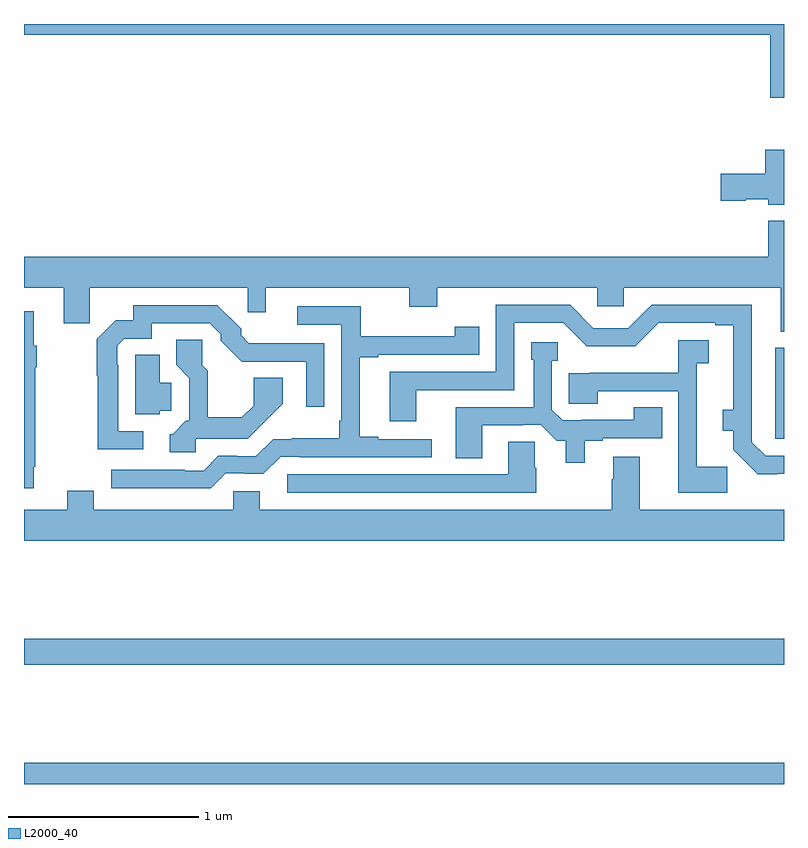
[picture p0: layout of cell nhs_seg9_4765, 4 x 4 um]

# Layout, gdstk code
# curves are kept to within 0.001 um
import gdstk
lib = gdstk.Library(unit=1e-6, precision=1e-09)
def R(c, l, rs):  # rectangles x0, y0, x1, y1
    for r in rs: c.add(gdstk.rectangle(r[:2], r[2:], *l))
def P(c, l, *ps):  # polygons
    for p in ps: c.add(gdstk.Polygon(p, *l))
L2000_40 = (2000, 40)

nhs_seg9_4765 = lib.new_cell('nhs_seg9_4765')
R(nhs_seg9_4765, L2000_40, [(387,1168.5,391,1168.612), (387,1169.128,391,1169.264), (390.954,1170.318,391,1170.795)])
P(nhs_seg9_4765, L2000_40, [(391,1172.5),(387,1172.5),(387,1172.444),(390.928,1172.444),(390.928,1172.112),(391,1172.112)],
  [(391,1171.837),(390.902,1171.837),(390.902,1171.712),(390.666,1171.712),(390.666,1171.57),(390.798,1171.57),(390.798,1171.577),(390.918,1171.577),(390.918,1171.55),(391,1171.55)],
  [(391,1171.465),(390.917,1171.465),(390.917,1171.276),(387,1171.276),(387,1171.112),(387.209,1171.112),(387.209,1170.924),(387.347,1170.924),(387.347,1171.112),(388.177,1171.112),(388.177,1170.983),(388.273,1170.983),(388.273,1171.112),(389.027,1171.112),(389.027,1171.013),(389.175,1171.013),(389.175,1171.112),(390.018,1171.112),(390.018,1171.014),(390.156,1171.014),(390.156,1171.112),(390.983,1171.112),(390.983,1170.88),(391,1170.88)],
  [(390.964,1170.132),(391,1170.132),(391,1170.228),(390.903,1170.228),(390.831,1170.3),(390.831,1171.023),(390.303,1171.023),(390.18,1170.9),(389.997,1170.9),(389.874,1171.023),(389.484,1171.023),(389.484,1170.669),(388.925,1170.669),(388.925,1170.408),(389.065,1170.408),(389.065,1170.573),(389.58,1170.573),(389.58,1170.927),(389.838,1170.927),(389.962,1170.803),(390.216,1170.803),(390.34,1170.927),(390.638,1170.927),(390.638,1170.915),(390.734,1170.915),(390.734,1170.469),(390.677,1170.469),(390.677,1170.359),(390.734,1170.359),(390.734,1170.26),(390.863,1170.131)],
  [(387.628,1170.357),(387.495,1170.357),(387.495,1170.707),(387.492,1170.707),(387.492,1170.807),(387.528,1170.843),(387.672,1170.843),(387.672,1170.924),(387.978,1170.924),(388.035,1170.867),(388.035,1170.833),(388.145,1170.723),(388.485,1170.723),(388.485,1170.486),(388.581,1170.486),(388.581,1170.819),(388.184,1170.82),(388.144,1170.861),(388.144,1170.895),(388.018,1171.02),(387.574,1171.02),(387.574,1170.94),(387.484,1170.94),(387.384,1170.84),(387.384,1170.649),(387.387,1170.649),(387.387,1170.261),(387.628,1170.261)],
  [(388.062,1170.135),(388.163,1170.135),(388.163,1170.132),(388.26,1170.132),(388.35,1170.222),(388.45,1170.222),(388.45,1170.219),(389.146,1170.219),(389.146,1170.315),(388.864,1170.315),(388.864,1170.328),(388.768,1170.328),(388.768,1170.747),(388.864,1170.747),(388.864,1170.759),(389.395,1170.759),(389.395,1170.907),(389.267,1170.907),(389.267,1170.856),(388.772,1170.856),(388.772,1171.014),(388.437,1171.014),(388.437,1170.918),(388.671,1170.918),(388.671,1170.412),(388.659,1170.412),(388.659,1170.319),(388.408,1170.319),(388.408,1170.315),(388.311,1170.315),(388.221,1170.225),(388.121,1170.225),(388.121,1170.228),(388.023,1170.228),(387.945,1170.15),(387.845,1170.15),(387.845,1170.153),(387.459,1170.153),(387.459,1170.057),(387.983,1170.056)],
  [(387.052,1170.169),(387.06,1170.169),(387.06,1170.693),(387.066,1170.693),(387.066,1170.807),(387.052,1170.807),(387.052,1170.988),(387,1170.988),(387,1170.057),(387.052,1170.057)],
  [(387.903,1170.318),(388.177,1170.318),(388.363,1170.502),(388.363,1170.638),(388.209,1170.638),(388.209,1170.49),(388.147,1170.429),(387.968,1170.429),(387.968,1170.674),(387.939,1170.703),(387.939,1170.838),(387.8,1170.838),(387.8,1170.706),(387.87,1170.636),(387.87,1170.411),(387.852,1170.411),(387.783,1170.342),(387.767,1170.342),(387.767,1170.246),(387.903,1170.246)],
  [(390.702,1170.171),(390.541,1170.171),(390.541,1170.714),(390.604,1170.714),(390.604,1170.835),(390.444,1170.835),(390.444,1170.664),(389.977,1170.664),(389.977,1170.663),(389.867,1170.663),(389.867,1170.502),(390.021,1170.502),(390.021,1170.567),(390.444,1170.567),(390.444,1170.032),(390.702,1170.032)],
  [(389.95,1170.306),(390.046,1170.306),(390.046,1170.321),(390.359,1170.321),(390.359,1170.482),(390.208,1170.482),(390.208,1170.417),(389.935,1170.417),(389.935,1170.414),(389.835,1170.414),(389.778,1170.471),(389.778,1170.727),(389.808,1170.727),(389.808,1170.825),(389.669,1170.825),(389.669,1170.732),(389.682,1170.732),(389.682,1170.483),(389.273,1170.483),(389.273,1170.214),(389.413,1170.214),(389.413,1170.387),(389.627,1170.387),(389.627,1170.39),(389.721,1170.39),(389.805,1170.306),(389.852,1170.306),(389.852,1170.192),(389.95,1170.192)],
  [(387.714,1170.465),(387.774,1170.465),(387.774,1170.611),(387.715,1170.611),(387.715,1170.758),(387.585,1170.758),(387.585,1170.446),(387.714,1170.446)],
  [(389.697,1170.165),(389.687,1170.165),(389.687,1170.302),(389.549,1170.302),(389.549,1170.129),(388.386,1170.129),(388.386,1170.033),(389.697,1170.033)],
  [(391,1169.944),(390.241,1169.944),(390.241,1170.223),(390.101,1170.223),(390.101,1170.104),(390.094,1170.104),(390.094,1169.944),(388.24,1169.944),(388.24,1170.042),(388.101,1170.042),(388.101,1169.944),(387.367,1169.944),(387.367,1170.043),(387.227,1170.043),(387.227,1169.944),(387,1169.944),(387,1169.78),(391,1169.78)])

lib.write_gds('nhs_seg9_4765.gds')
